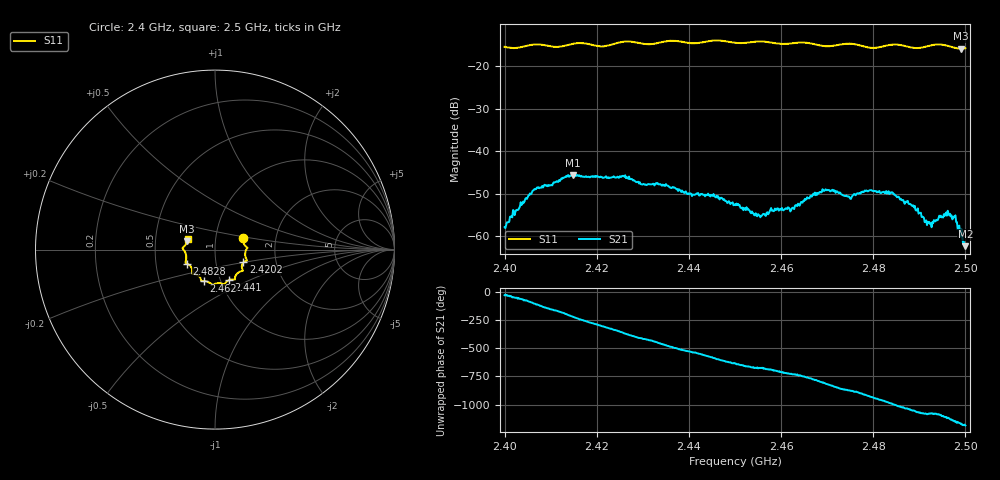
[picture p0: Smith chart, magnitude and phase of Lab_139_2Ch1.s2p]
# Hz S RI R 50
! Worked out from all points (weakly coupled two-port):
!   601 points, 2.4 GHz to 2.5 GHz, reference 50 ohm
!   highest |S21| = -45.55 dB at 2.4148 GHz (marker M1); lowest = -62.3 dB at 2.5 GHz (marker M2)
!   lowest |S11| = -15.8 dB at 2.499 GHz (marker M3), VSWR 1.39, Z = 36.5 + j3.49 ohm
!   |S11| at or under -10 dB: start of sweep to end of sweep
!   S12 and S22 are empty: the file has one direction only
!   S11 on the Smith chart (normalised r, x): 2.4 GHz: 1.36, +0.18; 2.4202 GHz: 1.36, -0.20; 2.441 GHz: 1.10, -0.39; 2.462 GHz: 0.84, -0.30; 2.4828 GHz: 0.72, -0.12; 2.5 GHz: 0.73, +0.09
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2.4e9  0.1575 0.0629  0.00112 -0.000621  0 0  0 0
2.4065e9  0.1804 0.011  -0.000896 -0.00349  0 0  0 0
2.414833e9  0.1757 -0.0546  -0.00403 0.0034  0 0  0 0
2.416667e9  0.1779 -0.0599  -0.00193 0.00477  0 0  0 0
2.420167e9  0.1583 -0.0708  0.00186 0.00474  0 0  0 0
2.433333e9  0.1125 -0.1513  -0.000202 -0.0041  0 0  0 0
2.441e9  0.0783 -0.1695  -0.00308 -0.000179  0 0  0 0
2.45e9  0.0285 -0.1871  0.000234 0.00237  0 0  0 0
2.455167e9  -0.0123 -0.1956  0.00123 0.00129  0 0  0 0
2.462e9  -0.0604 -0.1754  0.00194 -0.000273  0 0  0 0
2.466667e9  -0.0778 -0.1681  0.00182 -0.00229  0 0  0 0
2.4695e9  -0.0909 -0.1469  5.85e-05 -0.00347  0 0  0 0
2.474833e9  -0.1265 -0.1348  -0.00261 -0.00126  0 0  0 0
2.478667e9  -0.1279 -0.1081  -0.00322 0.00116  0 0  0 0
2.482833e9  -0.1576 -0.0775  -0.000858 0.0033  0 0  0 0
2.483333e9  -0.1606 -0.0761  -0.000466 0.00336  0 0  0 0
2.4885e9  -0.1599 -0.0434  0.00203 0.00103  0 0  0 0
2.492167e9  -0.1746 -0.000653  0.00147 -1.44e-05  0 0  0 0
2.4965e9  -0.1711 0.0191  0.00129 -0.0012  0 0  0 0
2.497667e9  -0.1626 0.0297  0.000568 -0.00159  0 0  0 0
2.499e9  -0.1546 0.0466  -2.87e-05 -0.00099  0 0  0 0
2.5e9  -0.1516 0.0611  -0.000198 -0.000739  0 0  0 0
